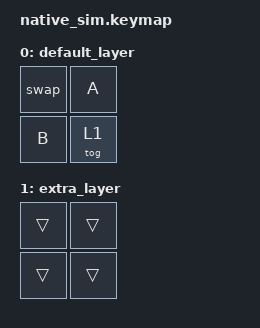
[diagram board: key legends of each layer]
#include <dt-bindings/zmk/keys.h>
#include <behaviors.dtsi>
#include <dt-bindings/zmk/kscan_mock.h>

/* The deferred end against a held key. Here the layer drops while the
 * tri-state is still pressed, so the end cannot run from the layer event
 * itself (the continue behavior is down) and has to be handed to the release
 * path instead. The trailing key pins the ordering: it is in
 * ignored-key-positions, so if the end regressed to the timeout it would be
 * emitted before LALT is released rather than after.
 *
 * Layer 1 is in ignored-layers *and* in end-on-layer-deactivation: the two
 * lists are independent, so ignoring the activation must not suppress the
 * end on deactivation. */

/ {
    behaviors {
        swap: swap {
            compatible = "zmk,behavior-tri-state";
            #binding-cells = <0>;
            bindings = <&kt LALT>, <&kp TAB>, <&kt LALT>;
            ignored-key-positions = <1 3>;
            ignored-layers = <1>;
            timeout-ms = <200>;
            end-on-layer-deactivation = <1>;
        };
    };

    keymap {
        compatible = "zmk,keymap";
        label = "Default keymap";

        default_layer {
            bindings = <
                &swap    &kp A
                &kp B    &tog 1>;
        };

        extra_layer {
            bindings = <
                &trans   &trans
                &trans   &trans>;
        };
    };
};

&kscan {
    events = <
    /* tog 1: ignored position, and layer 1 activation is in ignored-layers */
    ZMK_MOCK_PRESS(1,1,10)
    ZMK_MOCK_RELEASE(1,1,10)
    /* one full tap, so the second press goes through the continue behavior */
    ZMK_MOCK_PRESS(0,0,10)
    ZMK_MOCK_RELEASE(0,0,10)
    /* second press left held */
    ZMK_MOCK_PRESS(0,0,10)
    /* trans on layer 1 falls through to tog 1: layer 1 deactivates while the
     * tri-state key is still down, so the end defers to the release */
    ZMK_MOCK_PRESS(1,1,10)
    ZMK_MOCK_RELEASE(1,1,10)
    /* the end must land here, on the release */
    ZMK_MOCK_RELEASE(0,0,10)
    /* ignored position: emitted after LALT is already released */
    ZMK_MOCK_PRESS(0,1,10)
    ZMK_MOCK_RELEASE(0,1,1000)
    >;
};
